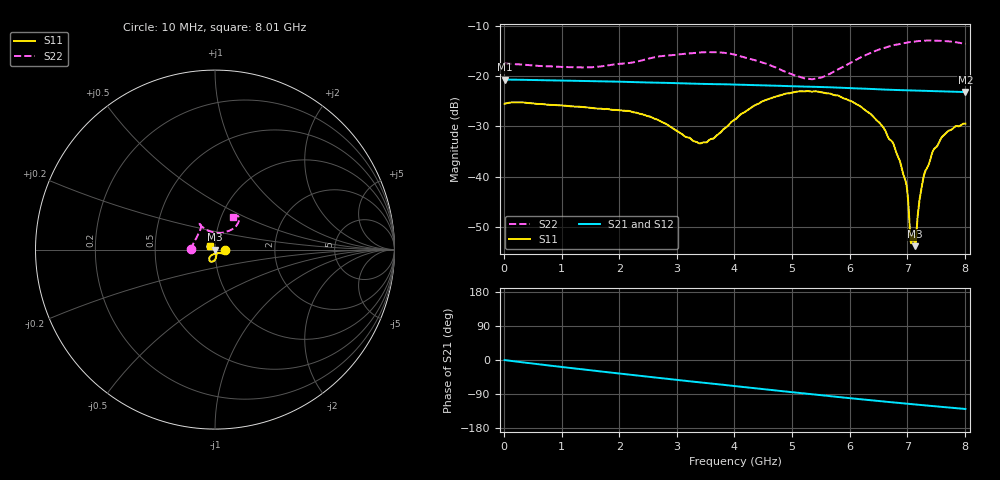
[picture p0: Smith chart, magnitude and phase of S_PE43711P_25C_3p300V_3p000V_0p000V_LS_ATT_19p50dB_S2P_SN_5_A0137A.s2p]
! Device ID: PE43711P
! File Path: z:\PE43711P\CHAR_NOM_04282014\AMB\3p300\LS_ATT_19p50dB\PE43711P_AMB_3p300V_3p000V_0p000V_LS_ATT_19p50dB_S2P_SN_5_A0137A.s2p
! Serial: 5
! Lot: A0137A
! Temp: 25C
! VDD: 3.300
! VSS: 0.000
! Control_Hi: 3.000
! Control_Lo: 0.000
! Attenuation Step: 19.50dB
! Port 1: RF1
! Port 2: RF2
! ThroughPath:1-2
! IDD: 0.0001276376
! ISS: -2.092e-007
#  Hz  S  RI  R  50
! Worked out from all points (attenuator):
!   801 points, 10 MHz to 8.01 GHz, reference 50 ohm
!   highest |S21| = -20.68 dB at 10 MHz (marker M1); lowest = -23.2 dB at 8.01 GHz (marker M2)
!   lowest |S11| = -53.8 dB at 7.14 GHz (marker M3), VSWR 1.00, Z = 49.8 - j0.0126 ohm
!   |S11| at or under -10 dB: start of sweep to end of sweep
!   |S22| runs from -20.6 to -12.9 dB; largest |S21 - S12| = 0.00022
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1e7  0.0532 0.000173  0.0925 -0.000392  0.0926 -0.000426  -0.1339 0.000982
1.35e9  0.0458 -0.0187  0.0817 -0.0372  0.0818 -0.0372  -0.1065 0.0594
2.17e9  0.0396 -0.0217  0.0684 -0.0548  0.0685 -0.0548  -0.0843 0.1055
2.68e9  0.0309 -0.0198  0.0586 -0.063  0.0586 -0.063  -0.079 0.1355
3.41e9  0.00547 -0.0208  0.043 -0.072  0.0431 -0.072  -0.0809 0.1519
4.01e9  -0.0198 -0.0313  0.0297 -0.077  0.0297 -0.077  -0.0841 0.14
4.68e9  -0.0323 -0.0525  0.0143 -0.0792  0.0143 -0.0792  -0.0521 0.1131
5.35e9  -0.0222 -0.0666  -0.000483 -0.0785  -0.000467 -0.0785  0.00967 0.0928
6.17e9  0.00282 -0.0509  -0.0174 -0.0734  -0.0175 -0.0735  0.0985 0.1152
6.53e9  0.00749 -0.033  -0.0238 -0.0699  -0.0238 -0.0701  0.1236 0.139
6.68e9  0.0065 -0.0231  -0.0261 -0.0685  -0.026 -0.0686  0.1287 0.1494
6.78e9  0.0063 -0.0187  -0.0276 -0.0675  -0.0276 -0.0676  0.1319 0.1559
6.94e9  0.00264 -0.00994  -0.03 -0.0659  -0.0299 -0.066  0.1333 0.1657
6.99e9  0.00275 -0.00759  -0.0307 -0.0655  -0.0307 -0.0655  0.1341 0.1679
7.04e9  0.00107 -0.00327  -0.0316 -0.065  -0.0315 -0.065  0.1341 0.1718
7.08e9  -0.00139 -0.00183  -0.0321 -0.0646  -0.0321 -0.0646  0.1333 0.1738
7.11e9  -0.00207 -0.00149  -0.0325 -0.0643  -0.0325 -0.0643  0.1331 0.175
7.14e9  -0.00204 -0.000127  -0.033 -0.064  -0.033 -0.064  0.1331 0.1766
7.27e9  -0.00612 0.00669  -0.0349 -0.0625  -0.0348 -0.0626  0.1305 0.1834
7.45e9  -0.0123 0.0135  -0.0373 -0.0604  -0.0373 -0.0605  0.1232 0.1893
7.68e9  -0.0196 0.0192  -0.0402 -0.0577  -0.0403 -0.0577  0.1128 0.1924
8.01e9  -0.026 0.0216  -0.044 -0.0538  -0.0442 -0.0538  0.0996 0.1842
